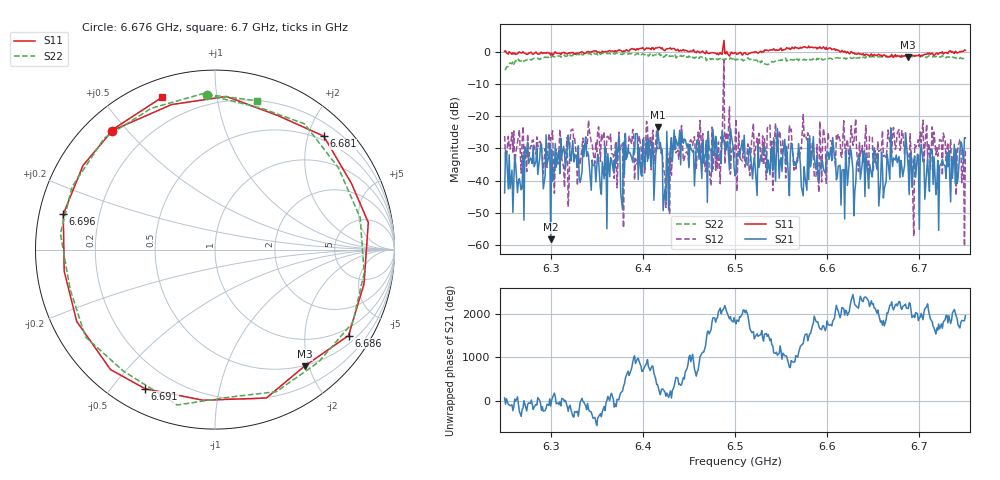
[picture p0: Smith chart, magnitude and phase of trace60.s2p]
# Hz S RI R 50
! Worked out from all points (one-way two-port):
!   401 points, 6.25 GHz to 6.75 GHz, reference 50 ohm
!   highest |S21| = -23.34 dB at 6.416 GHz (marker M1); lowest = -58.3 dB at 6.3 GHz (marker M2)
!   lowest |S11| = -1.7 dB at 6.688 GHz (marker M3), VSWR 10.05, Z = 24.5 - j96.6 ohm
!   |S11| at or under -10 dB: nowhere
!   |S22| runs from -5.5 to -0.3 dB; largest |S21 - S12| = 0.69
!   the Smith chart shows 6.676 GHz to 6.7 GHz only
!   S11 on the Smith chart (normalised r, x): 6.676 GHz: 0.08, +0.45; 6.681 GHz: 0.42, +2.28; 6.686 GHz: 0.74, -3.25; 6.691 GHz: 0.10, -0.61; 6.696 GHz: 0.07, +0.11; 6.7 GHz: 0.08, +0.71
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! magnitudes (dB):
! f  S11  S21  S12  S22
! 6.25 GHz  0.2  -43.9  -26.2  -5.5
! 6.3 GHz  -1.1  -58.3  -26.7  -1.9
! 6.318 GHz  -0.7  -30.2  -26.6  -1.3
! 6.334 GHz  0.0  -37.4  -29.5  -0.9
! 6.416 GHz  1.3  -23.3  -30.0  -1.1
! 6.418 GHz  1.4  -29.5  -30.1  -0.5
! 6.425 GHz  0.8  -46.1  -48.4  -1.0
! 6.436 GHz  0.3  -27.2  -31.4  -1.9
! 6.5 GHz  -0.2  -38.5  -29.1  -2.3
! 6.575 GHz  1.6  -35.7  -26.3  -2.3
! 6.584 GHz  1.4  -31.3  -28.4  -2.5
! 6.616 GHz  0.4  -36.8  -32.8  -2.0
! 6.668 GHz  -1.4  -39.7  -28.2  -1.6
! 6.676 GHz  -1.1  -34.5  -25.3  -1.3
! 6.681 GHz  -1.2  -35.6  -24.5  -1.6
! 6.686 GHz  -1.1  -28.4  -29.7  -1.3
! 6.688 GHz  -1.7  -36.1  -32.8  -1.7
! 6.691 GHz  -1.2  -31.5  -31.1  -1.2
! 6.696 GHz  -1.2  -39.0  -29.7  -1.2
! 6.7 GHz  -0.9  -55.1  -29.5  -1.3
! 6.72 GHz  -0.8  -33.7  -32.4  -1.4
! 6.75 GHz  0.4  -26.8  -30.0  -2.1
